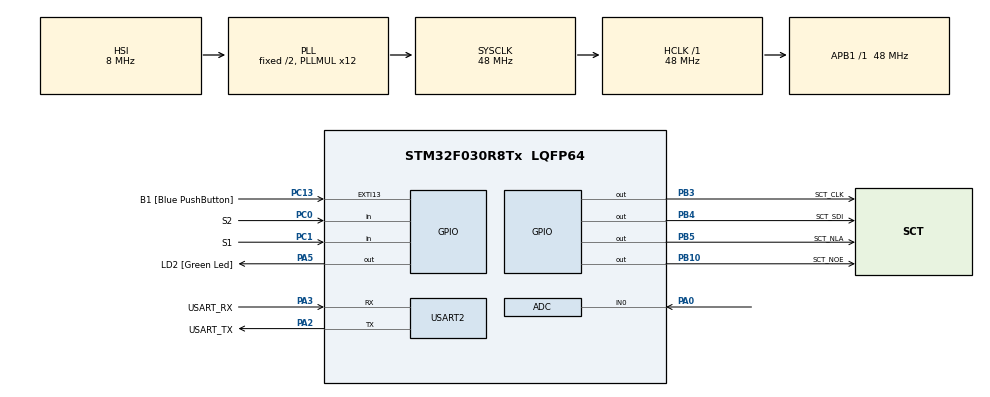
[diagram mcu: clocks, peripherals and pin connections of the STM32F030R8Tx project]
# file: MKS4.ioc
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ADC.ContinuousConvMode=ENABLE
ADC.Overrun=ADC_OVR_DATA_OVERWRITTEN
ADC.SamplingTime=ADC_SAMPLETIME_239CYCLES_5
Mcu.Family=STM32F0
Mcu.Name=STM32F030R8Tx
Mcu.Package=LQFP64
NVIC.ADC1_IRQn=true\:0\:0\:false\:false\:true\:true\:true\:true
PA0.Mode=IN0
PA0.Signal=ADC_IN0
PA13.GPIO_Label=TMS
PA13.Mode=Serial_Wire
PA13.Signal=SYS_SWDIO
PA14.GPIO_Label=TCK
PA14.Mode=Serial_Wire
PA14.Signal=SYS_SWCLK
PA2.GPIO_Label=USART_TX
PA2.GPIO_Mode=GPIO_MODE_AF_PP
PA2.GPIO_PuPd=GPIO_NOPULL
PA2.GPIO_Speed=GPIO_SPEED_FREQ_LOW
PA2.Mode=Asynchronous
PA2.Signal=USART2_TX
PA3.GPIO_Label=USART_RX
PA3.GPIO_Mode=GPIO_MODE_AF_PP
PA3.GPIO_PuPd=GPIO_NOPULL
PA3.GPIO_Speed=GPIO_SPEED_FREQ_LOW
PA3.Mode=Asynchronous
PA3.Signal=USART2_RX
PA5.GPIO_Label=LD2 [Green Led]
PA5.GPIO_Mode=GPIO_MODE_OUTPUT_PP
PA5.GPIO_PuPd=GPIO_NOPULL
PA5.GPIO_Speed=GPIO_SPEED_FREQ_LOW
PA5.Signal=GPIO_Output
PB10.GPIO_Label=SCT_NOE
PB10.Signal=GPIO_Output
PB3.GPIO_Label=SCT_CLK
PB3.Signal=GPIO_Output
PB4.GPIO_Label=SCT_SDI
PB4.Signal=GPIO_Output
PB5.GPIO_Label=SCT_NLA
PB5.Signal=GPIO_Output
PC0.GPIO_Label=S2
PC0.GPIO_PuPd=GPIO_PULLUP
PC0.Signal=GPIO_Input
PC1.GPIO_Label=S1
PC1.GPIO_PuPd=GPIO_PULLUP
PC1.Signal=GPIO_Input
PC13.GPIO_Label=B1 [Blue PushButton]
PC13.GPIO_ModeDefaultEXTI=GPIO_MODE_IT_FALLING
PC13.Signal=GPXTI13
PC14-OSC32_IN.Mode=LSE-External-Oscillator
PC14-OSC32_IN.Signal=RCC_OSC32_IN
PC15-OSC32_OUT.Mode=LSE-External-Oscillator
PC15-OSC32_OUT.Signal=RCC_OSC32_OUT
PF0-OSC_IN.Mode=HSE-External-Clock-Source
PF0-OSC_IN.Signal=RCC_OSC_IN
PF1-OSC_OUT.Signal=RCC_OSC_OUT
ProjectManager.HeapSize=0x200
ProjectManager.StackSize=0x400
ProjectManager.TargetToolchain=STM32CubeIDE
RCC.AHBFreq_Value=48000000
RCC.APB1Freq_Value=48000000
RCC.APB1TimFreq_Value=48000000
RCC.HCLKFreq_Value=48000000
RCC.PLLMUL=RCC_PLL_MUL12
RCC.SYSCLKFreq_VALUE=48000000
RCC.SYSCLKSource=RCC_SYSCLKSOURCE_PLLCLK
USART2.VirtualMode-Asynchronous=VM_ASYNC
VP_ADC_TempSens_Input.Mode=IN-TempSens
VP_ADC_Vref_Input.Mode=IN-Vrefint
board=NUCLEO-F030R8

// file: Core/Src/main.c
/* USER CODE BEGIN Header */
/**
 ******************************************************************************
 * @file           : main.c
 * @brief          : Main program body
 ******************************************************************************
 * @attention
 *
 * Copyright (c) 2024 STMicroelectronics.
 * All rights reserved.
 *
 * This software is licensed under terms that can be found in the LICENSE file
 * in the root directory of this software component.
 * If no LICENSE file comes with this software, it is provided AS-IS.
 *
 ******************************************************************************
 */
/* USER CODE END Header */
#include "main.h"

/* USER CODE BEGIN Includes */
#include "sct.h"
/* USER CODE END Includes */

/* USER CODE BEGIN PD */
#define ADC_Q 12
/* Temperature sensor calibration value address */
#define TEMP110_CAL_ADDR ((uint16_t*) ((uint32_t) 0x1FFFF7C2))
#define TEMP30_CAL_ADDR ((uint16_t*) ((uint32_t) 0x1FFFF7B8))
/* Internal voltage reference calibration value address */
#define VREFINT_CAL_ADDR ((uint16_t*) ((uint32_t) 0x1FFFF7BA))
/* USER CODE END PD */

ADC_HandleTypeDef hadc;

UART_HandleTypeDef huart2;

/* USER CODE BEGIN PV */
static volatile uint32_t raw_pot;
static volatile uint32_t raw_volt;
static volatile uint32_t raw_temp;
/* USER CODE END PV */

void SystemClock_Config(void);
static void MX_GPIO_Init(void);
static void MX_USART2_UART_Init(void);
static void MX_ADC_Init(void);

/* USER CODE BEGIN 0 */
void HAL_ADC_ConvCpltCallback(ADC_HandleTypeDef *hadc) {
	static uint8_t channel;
	static uint32_t avg_pot;

	switch (channel) {
	case 0: // ADC_CHANNEL_0 - potentiometer
		raw_pot = avg_pot >> ADC_Q;
		avg_pot -= raw_pot;
		avg_pot += HAL_ADC_GetValue(hadc);
		break;

	case 1: // ADC_CHANNEL_TEMPSENSOR
		raw_temp = HAL_ADC_GetValue(hadc);
		break;

	case 2: // ADC_CHANNEL_VREFINT
		raw_volt = HAL_ADC_GetValue(hadc);
		break;

	default:
		break;
	}

	if (__HAL_ADC_GET_FLAG(hadc, ADC_FLAG_EOS))
		channel = 0;
	else
		channel++;
}
/* USER CODE END 0 */

int main(void) {

	/* MCU Configuration--------------------------------------------------------*/

	/* Reset of all peripherals, Initializes the Flash interface and the Systick. */
	HAL_Init();

	/* Configure the system clock */
	SystemClock_Config();

	/* Initialize all configured peripherals */
	MX_GPIO_Init();
	MX_USART2_UART_Init();
	MX_ADC_Init();
	/* USER CODE BEGIN 2 */
	HAL_ADCEx_Calibration_Start(&hadc);
	HAL_ADC_Start_IT(&hadc);

	sct_init();

	uint32_t last_update = 0;
	/* USER CODE END 2 */

	/* Infinite loop */
	/* USER CODE BEGIN WHILE */
	while (1) {

		uint16_t rescaled_pot;
		rescaled_pot = ((raw_pot * 950) / 4095) + 50;
		for (int i = 0; i <= 17;) {
			int num;
			if (i <= 8) {
				num = i; // Counting up
			} else {
				num = 17 - i; // Counting down
			}
			if (HAL_GetTick() > (last_update + rescaled_pot)) {
				sct_value(rescaled_pot, num);
				last_update = HAL_GetTick();
				i++;
			}
			rescaled_pot = ((raw_pot * 950) / 4095) + 50;
		}
		/*
		uint16_t rescaled_pot;

		for (int i = 0; i <= 17;) {
			int num;
			if (i <= 8) {
				num = i; // Counting up
			} else {
				num = 17 - i; // Counting down
			}
			sct_value(rescaled_pot, num);
			rescaled_pot = ((raw_pot * 950) / 4095) + 50;
			HAL_Delay(rescaled_pot);
			i++;
		}*/

		/*
		 int test_gettick = HAL_GetTick();
		 int test = last_update + rescaled_pot;
		 int test3 = HAL_GetTick() > (last_update + rescaled_pot);

		 if (HAL_GetTick() > (last_update + rescaled_pot)) {
		 sct_value(111, 8);
		 last_update = HAL_GetTick();
		 HAL_Delay(1000);
		 }
		 sct_value(222, 0);
		 HAL_Delay(2000);

		 */
		/* USER CODE END WHILE */

	}
}

void SystemClock_Config(void) {
	RCC_OscInitTypeDef RCC_OscInitStruct = { 0 };
	RCC_ClkInitTypeDef RCC_ClkInitStruct = { 0 };

	/** Initializes the RCC Oscillators according to the specified parameters
	 * in the RCC_OscInitTypeDef structure.
	 */
	RCC_OscInitStruct.OscillatorType = RCC_OSCILLATORTYPE_HSI
			| RCC_OSCILLATORTYPE_HSI14;
	RCC_OscInitStruct.HSIState = RCC_HSI_ON;
	RCC_OscInitStruct.HSI14State = RCC_HSI14_ON;
	RCC_OscInitStruct.HSICalibrationValue = RCC_HSICALIBRATION_DEFAULT;
	RCC_OscInitStruct.HSI14CalibrationValue = 16;
	RCC_OscInitStruct.PLL.PLLState = RCC_PLL_ON;
	RCC_OscInitStruct.PLL.PLLSource = RCC_PLLSOURCE_HSI;
	RCC_OscInitStruct.PLL.PLLMUL = RCC_PLL_MUL12;
	RCC_OscInitStruct.PLL.PREDIV = RCC_PREDIV_DIV1;
	if (HAL_RCC_OscConfig(&RCC_OscInitStruct) != HAL_OK) {
		Error_Handler();
	}

	/** Initializes the CPU, AHB and APB buses clocks
	 */
	RCC_ClkInitStruct.ClockType = RCC_CLOCKTYPE_HCLK | RCC_CLOCKTYPE_SYSCLK
			| RCC_CLOCKTYPE_PCLK1;
	RCC_ClkInitStruct.SYSCLKSource = RCC_SYSCLKSOURCE_PLLCLK;
	RCC_ClkInitStruct.AHBCLKDivider = RCC_SYSCLK_DIV1;
	RCC_ClkInitStruct.APB1CLKDivider = RCC_HCLK_DIV1;

	if (HAL_RCC_ClockConfig(&RCC_ClkInitStruct, FLASH_LATENCY_1) != HAL_OK) {
		Error_Handler();
	}
}

static void MX_ADC_Init(void) {

	ADC_ChannelConfTypeDef sConfig = { 0 };

	/** Configure the global features of the ADC (Clock, Resolution, Data Alignment and number of conversion)
	 */
	hadc.Instance = ADC1;
	hadc.Init.ClockPrescaler = ADC_CLOCK_ASYNC_DIV1;
	hadc.Init.Resolution = ADC_RESOLUTION_12B;
	hadc.Init.DataAlign = ADC_DATAALIGN_RIGHT;
	hadc.Init.ScanConvMode = ADC_SCAN_DIRECTION_FORWARD;
	hadc.Init.EOCSelection = ADC_EOC_SINGLE_CONV;
	hadc.Init.LowPowerAutoWait = DISABLE;
	hadc.Init.LowPowerAutoPowerOff = DISABLE;
	hadc.Init.ContinuousConvMode = ENABLE;
	hadc.Init.DiscontinuousConvMode = DISABLE;
	hadc.Init.ExternalTrigConv = ADC_SOFTWARE_START;
	hadc.Init.ExternalTrigConvEdge = ADC_EXTERNALTRIGCONVEDGE_NONE;
	hadc.Init.DMAContinuousRequests = DISABLE;
	hadc.Init.Overrun = ADC_OVR_DATA_OVERWRITTEN;
	if (HAL_ADC_Init(&hadc) != HAL_OK) {
		Error_Handler();
	}

	/** Configure for the selected ADC regular channel to be converted.
	 */
	sConfig.Channel = ADC_CHANNEL_0;
	sConfig.Rank = ADC_RANK_CHANNEL_NUMBER;
	sConfig.SamplingTime = ADC_SAMPLETIME_239CYCLES_5;
	if (HAL_ADC_ConfigChannel(&hadc, &sConfig) != HAL_OK) {
		Error_Handler();
	}

	/** Configure for the selected ADC regular channel to be converted.
	 */
	sConfig.Channel = ADC_CHANNEL_TEMPSENSOR;
	if (HAL_ADC_ConfigChannel(&hadc, &sConfig) != HAL_OK) {
		Error_Handler();
	}

	/** Configure for the selected ADC regular channel to be converted.
	 */
	sConfig.Channel = ADC_CHANNEL_VREFINT;
	if (HAL_ADC_ConfigChannel(&hadc, &sConfig) != HAL_OK) {
		Error_Handler();
	}

}

static void MX_USART2_UART_Init(void) {

	huart2.Instance = USART2;
	huart2.Init.BaudRate = 38400;
	huart2.Init.WordLength = UART_WORDLENGTH_8B;
	huart2.Init.StopBits = UART_STOPBITS_1;
	huart2.Init.Parity = UART_PARITY_NONE;
	huart2.Init.Mode = UART_MODE_TX_RX;
	huart2.Init.HwFlowCtl = UART_HWCONTROL_NONE;
	huart2.Init.OverSampling = UART_OVERSAMPLING_16;
	huart2.Init.OneBitSampling = UART_ONE_BIT_SAMPLE_DISABLE;
	huart2.AdvancedInit.AdvFeatureInit = UART_ADVFEATURE_NO_INIT;
	if (HAL_UART_Init(&huart2) != HAL_OK) {
		Error_Handler();
	}

}

static void MX_GPIO_Init(void) {
	GPIO_InitTypeDef GPIO_InitStruct = { 0 };

	/* GPIO Ports Clock Enable */
	__HAL_RCC_GPIOC_CLK_ENABLE();
	__HAL_RCC_GPIOF_CLK_ENABLE();
	__HAL_RCC_GPIOA_CLK_ENABLE();
	__HAL_RCC_GPIOB_CLK_ENABLE();

	/*Configure GPIO pin Output Level */
	HAL_GPIO_WritePin(LD2_GPIO_Port, LD2_Pin, GPIO_PIN_RESET);

	/*Configure GPIO pin Output Level */
	HAL_GPIO_WritePin(GPIOB,
	SCT_NOE_Pin | SCT_CLK_Pin | SCT_SDI_Pin | SCT_NLA_Pin, GPIO_PIN_RESET);

	/*Configure GPIO pin : B1_Pin */
	GPIO_InitStruct.Pin = B1_Pin;
	GPIO_InitStruct.Mode = GPIO_MODE_IT_FALLING;
	GPIO_InitStruct.Pull = GPIO_NOPULL;
	HAL_GPIO_Init(B1_GPIO_Port, &GPIO_InitStruct);

	/*Configure GPIO pins : S2_Pin S1_Pin */
	GPIO_InitStruct.Pin = S2_Pin | S1_Pin;
	GPIO_InitStruct.Mode = GPIO_MODE_INPUT;
	GPIO_InitStruct.Pull = GPIO_PULLUP;
	HAL_GPIO_Init(GPIOC, &GPIO_InitStruct);

	/*Configure GPIO pin : LD2_Pin */
	GPIO_InitStruct.Pin = LD2_Pin;
	GPIO_InitStruct.Mode = GPIO_MODE_OUTPUT_PP;
	GPIO_InitStruct.Pull = GPIO_NOPULL;
	GPIO_InitStruct.Speed = GPIO_SPEED_FREQ_LOW;
	HAL_GPIO_Init(LD2_GPIO_Port, &GPIO_InitStruct);

	/*Configure GPIO pins : SCT_NOE_Pin SCT_CLK_Pin SCT_SDI_Pin SCT_NLA_Pin */
	GPIO_InitStruct.Pin = SCT_NOE_Pin | SCT_CLK_Pin | SCT_SDI_Pin | SCT_NLA_Pin;
	GPIO_InitStruct.Mode = GPIO_MODE_OUTPUT_PP;
	GPIO_InitStruct.Pull = GPIO_NOPULL;
	GPIO_InitStruct.Speed = GPIO_SPEED_FREQ_LOW;
	HAL_GPIO_Init(GPIOB, &GPIO_InitStruct);

}

void Error_Handler(void) {
	__disable_irq();
	while (1) {
	}
}
